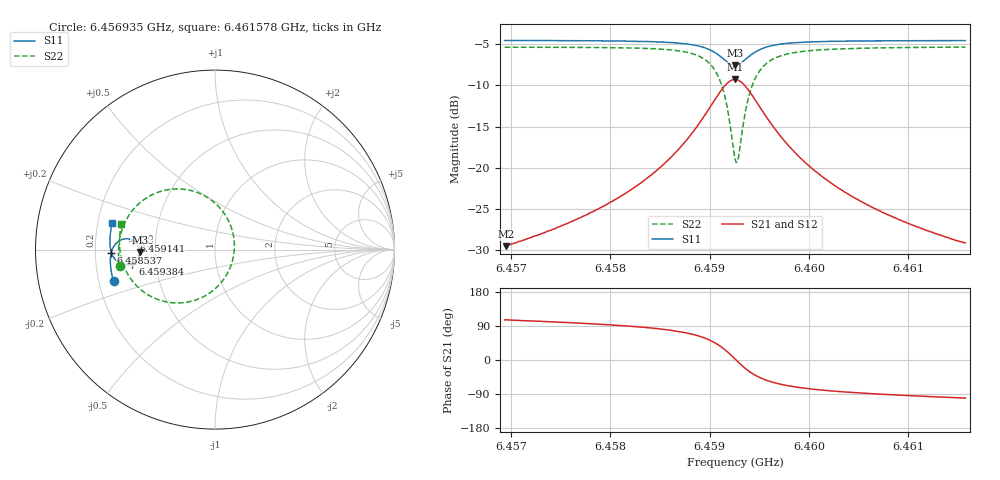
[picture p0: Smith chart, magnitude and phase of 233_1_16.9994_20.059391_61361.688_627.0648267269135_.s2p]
#  HZ  S  RI  R  50.00
! Rohde & Schwarz Vector Network Analyzer
! Rohde-Schwarz,ZNB20-2Port,1311601062101988,3.16
! Created: UTC 3/20/2024, 11:02:27 PM
! freq[Hz]  re:S11  im:S11  re:S21  im:S21  re:S12  im:S12  re:S22  im:S22
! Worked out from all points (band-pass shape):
!   401 points, 6.456935 GHz to 6.461578 GHz, reference 50 ohm
!   highest |S21| = -9.28 dB at 6.459257 GHz (marker M1); lowest = -29.5 dB at 6.456947 GHz (marker M2)
!   |S21| within 3 dB of the highest: 6.459025 GHz to 6.459488 GHz (463.6 kHz wide, 0.00718 % of centre)
!   lowest |S11| = -7.6 dB at 6.459257 GHz (marker M3), VSWR 2.44, Z = 20.5 - j0.621 ohm
!   |S11| at or under -10 dB: nowhere
!   |S22| runs from -19.3 to -5.3 dB; largest |S21 - S12| = 0.013
!   S11 on the Smith chart (normalised r, x): 6.456935 GHz: 0.26, -0.14; 6.458537 GHz: 0.27, -0.01; 6.459141 GHz: 0.37, +0.05; 6.459384 GHz: 0.37, -0.07; 6.461578 GHz: 0.26, +0.12
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6.4569354e9  -0.5653 -0.1764  -0.00913 0.0322  -0.0075 0.0321  -0.5308 -0.0921
6.456947e9  -0.5656 -0.1754  -0.00929 0.0322  -0.00747 0.0323  -0.531 -0.0911
6.4577131e9  -0.58 -0.1086  -0.00599 0.05  -0.00348 0.0494  -0.5375 -0.00179
6.4581541e9  -0.5832 -0.0645  -1.34e-05 0.0701  0.00328 0.0688  -0.5297 0.068
6.4584907e9  -0.5797 -0.0244  0.0132 0.0982  0.0174 0.0955  -0.5055 0.1438
6.4585372e9  -0.5784 -0.0181  0.0167 0.1036  0.0207 0.1006  -0.4992 0.157
6.4587461e9  -0.5663 0.0138  0.0425 0.1353  0.0467 0.1306  -0.4511 0.2289
6.458897e9  -0.5453 0.0402  0.0848 0.1656  0.0883 0.1593  -0.373 0.2935
6.4590479e9  -0.4992 0.06  0.1764 0.185  0.1773 0.1777  -0.2061 0.3382
6.4591407e9  -0.4549 0.0501  0.2659 0.1544  0.2664 0.1485  -0.0399 0.2892
6.4591871e9  -0.4337 0.0313  0.3096 0.1119  0.3109 0.1067  0.043 0.2135
6.4592568e9  -0.4189 -0.0125  0.343 0.0155  0.3467 0.00857  0.1079 0.0348
6.4592684e9  -0.4194 -0.0206  0.3428 -0.0022  0.3467 -0.00971  0.1078 0.00127
6.4592916e9  -0.4229 -0.036  0.3375 -0.0366  0.3412 -0.0457  0.097 -0.064
6.4593845e9  -0.4602 -0.0781  0.2675 -0.1371  0.2668 -0.1501  -0.044 -0.2511
6.4594773e9  -0.5033 -0.0849  0.1835 -0.1682  0.1774 -0.1796  -0.2114 -0.2974
6.4596282e9  -0.547 -0.0643  0.0962 -0.1547  0.088 -0.161  -0.3778 -0.2491
6.4597907e9  -0.5684 -0.0367  0.0516 -0.1272  0.0441 -0.1302  -0.4581 -0.1781
6.4600344e9  -0.5811 -0.00125  0.0225 -0.0963  0.0168 -0.0969  -0.5061 -0.0962
6.4603943e9  -0.5857 0.0411  0.0063 -0.0692  0.00219 -0.0686  -0.5283 -0.0151
6.4608121e9  -0.5838 0.0829  -0.00114 -0.0515  -0.00402 -0.0507  -0.5325 0.051
6.4615781e9  -0.5717 0.1506  -0.00639 -0.0344  -0.00811 -0.0335  -0.5215 0.1411
